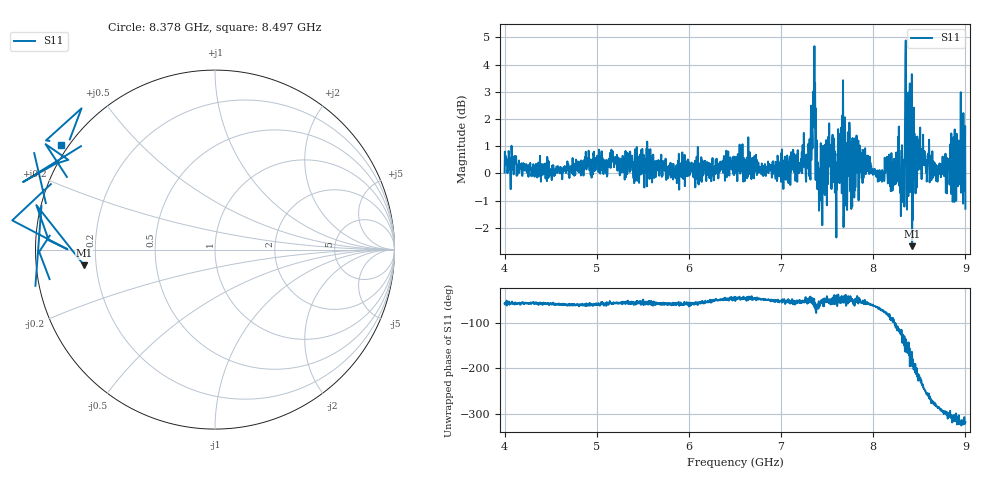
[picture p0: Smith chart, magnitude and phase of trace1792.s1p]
! Created with skrf 1.8.0 (http://scikit-rf.org).
# Hz S RI R 50.0
!freq ReS11 ImS11
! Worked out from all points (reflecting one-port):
!   1601 points, 4 GHz to 9 GHz, reference 50 ohm
!   lowest |S11| = -2.7 dB at 8.422 GHz (marker M1), VSWR 6.55, Z = 7.66 - j2.89 ohm
!   phase of S11 starts at -58 deg and turns -260 deg over the sweep
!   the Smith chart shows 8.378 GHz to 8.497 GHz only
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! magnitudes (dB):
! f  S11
! 4 GHz  0.0
! 4.625 GHz  -0.2
! 5.25 GHz  -0.1
! 5.875 GHz  0.1
! 6.5 GHz  0.3
! 7.125 GHz  0.4
! 7.294 GHz  0.3
! 7.347 GHz  2.7
! 7.369 GHz  3.3
! 7.4 GHz  0.4
! 7.428 GHz  0.4
! 7.512 GHz  1.3
! 7.609 GHz  -0.1
! 7.669 GHz  1.4
! 7.703 GHz  -0.2
! 7.75 GHz  0.1
! 7.775 GHz  1.3
! 7.834 GHz  0.7
! 8.097 GHz  0.1
! 8.259 GHz  0.0
! 8.312 GHz  1.0
! 8.331 GHz  0.5
! 8.375 GHz  -0.1
! 8.381 GHz  -0.8
! 8.422 GHz  -2.7
! 8.681 GHz  -0.3
! 8.972 GHz  0.8
! 9 GHz  -1.3
